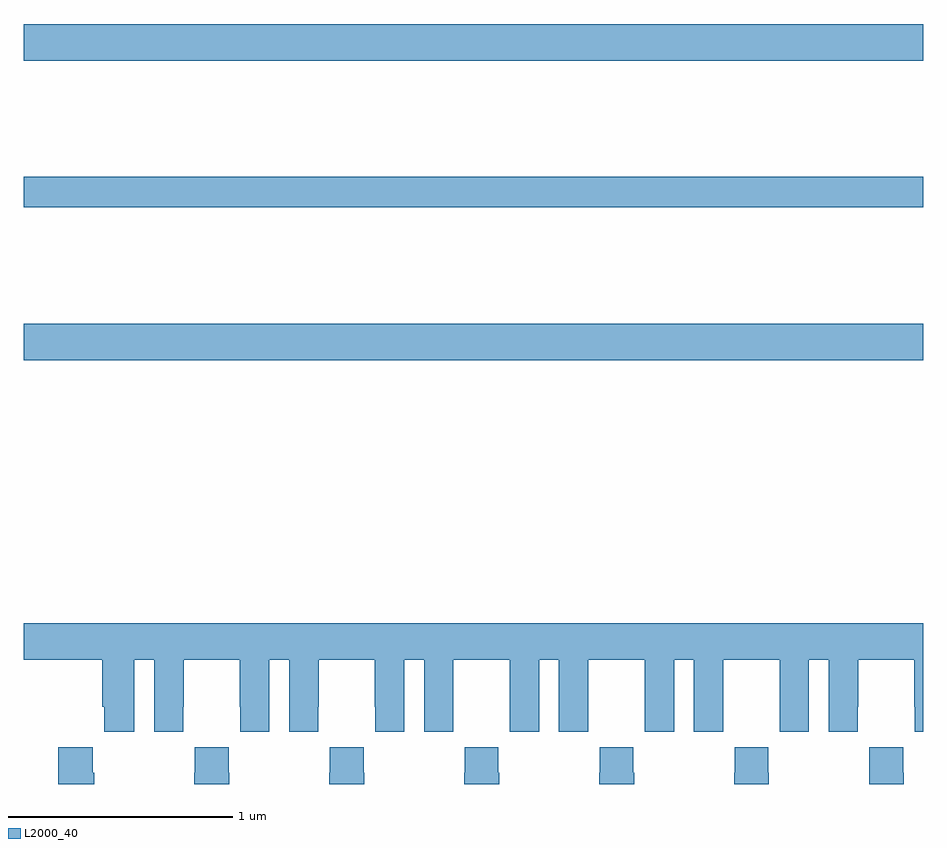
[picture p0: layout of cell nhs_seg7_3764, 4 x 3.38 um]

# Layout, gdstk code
import gdstk
lib = gdstk.Library(unit=1e-6, precision=1e-09)
def R(c, l, rs):  # rectangles x0, y0, x1, y1
    for r in rs: c.add(gdstk.rectangle(r[:2], r[2:], *l))
def P(c, l, *ps):  # polygons
    for p in ps: c.add(gdstk.Polygon(p, *l))
L2000_40 = (2000, 40)

nhs_seg7_3764 = lib.new_cell('nhs_seg7_3764')
R(nhs_seg7_3764, L2000_40, [(349,1065.884,353,1066.048), (349,1066.564,353,1066.7), (349,1067.216,353,1067.38)])
P(nhs_seg7_3764, L2000_40, [(349.492,1064.552),(349.58,1064.552),(349.58,1064.232),(349.71,1064.232),(349.71,1064.344),(349.711,1064.344),(349.711,1064.552),(349.961,1064.552),(349.961,1064.344),(349.962,1064.344),(349.962,1064.232),(350.092,1064.232),(350.092,1064.552),(350.18,1064.552),(350.18,1064.232),(350.31,1064.232),(350.31,1064.344),(350.311,1064.344),(350.311,1064.552),(350.561,1064.552),(350.561,1064.344),(350.562,1064.344),(350.562,1064.232),(350.692,1064.232),(350.692,1064.552),(350.78,1064.552),(350.78,1064.232),(350.91,1064.232),(350.91,1064.344),(350.911,1064.344),(350.911,1064.552),(351.161,1064.552),(351.161,1064.344),(351.162,1064.344),(351.162,1064.232),(351.292,1064.232),(351.292,1064.552),(351.38,1064.552),(351.38,1064.232),(351.51,1064.232),(351.51,1064.344),(351.511,1064.344),(351.511,1064.552),(351.761,1064.552),(351.761,1064.344),(351.762,1064.344),(351.762,1064.232),(351.892,1064.232),(351.892,1064.552),(351.98,1064.552),(351.98,1064.232),(352.11,1064.232),(352.11,1064.344),(352.111,1064.344),(352.111,1064.552),(352.361,1064.552),(352.361,1064.344),(352.362,1064.344),(352.362,1064.232),(352.492,1064.232),(352.492,1064.552),(352.58,1064.552),(352.58,1064.232),(352.71,1064.232),(352.71,1064.344),(352.711,1064.344),(352.711,1064.552),(352.961,1064.552),(352.961,1064.344),(352.962,1064.344),(352.962,1064.232),(353,1064.232),(353,1064.716),(349,1064.716),(349,1064.552),(349.349,1064.552),(349.349,1064.344),(349.358,1064.344),(349.358,1064.232),(349.492,1064.232)],
  [(349.314,1064.051),(349.307,1064.051),(349.307,1064.164),(349.154,1064.164),(349.154,1064),(349.314,1064)],
  [(349.914,1064.051),(349.911,1064.051),(349.911,1064.164),(349.761,1064.164),(349.761,1064.051),(349.759,1064.051),(349.759,1064),(349.914,1064)],
  [(350.514,1064.051),(350.511,1064.051),(350.511,1064.164),(350.361,1064.164),(350.361,1064.051),(350.359,1064.051),(350.359,1064),(350.514,1064)],
  [(351.114,1064.051),(351.111,1064.051),(351.111,1064.164),(350.961,1064.164),(350.961,1064.051),(350.959,1064.051),(350.959,1064),(351.114,1064)],
  [(351.714,1064.051),(351.711,1064.051),(351.711,1064.164),(351.561,1064.164),(351.561,1064.051),(351.559,1064.051),(351.559,1064),(351.714,1064)],
  [(352.314,1064.051),(352.311,1064.051),(352.311,1064.164),(352.161,1064.164),(352.161,1064.051),(352.159,1064.051),(352.159,1064),(352.314,1064)],
  [(352.914,1064.051),(352.911,1064.051),(352.911,1064.164),(352.761,1064.164),(352.761,1064.051),(352.759,1064.051),(352.759,1064),(352.914,1064)])

lib.write_gds('nhs_seg7_3764.gds')
